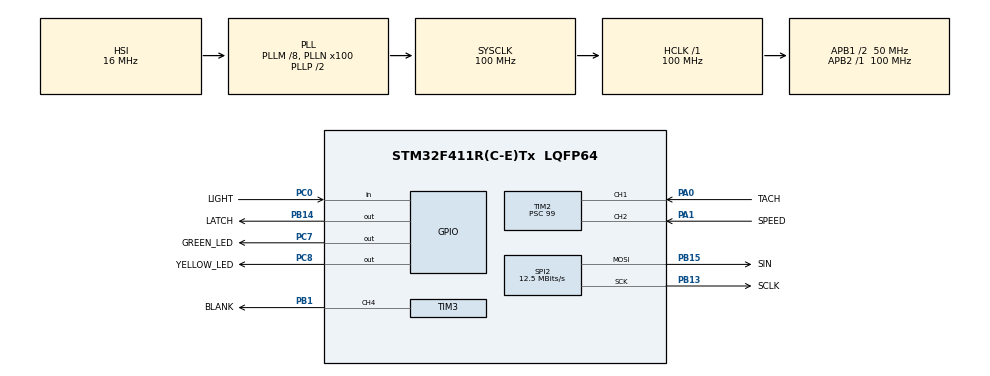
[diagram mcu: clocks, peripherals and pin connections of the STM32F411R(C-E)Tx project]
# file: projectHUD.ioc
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FREERTOS.Queues01=displayQueue,4,uint32_t,0,Dynamic,NULL,NULL
FREERTOS.Tasks01=inputTask,24,1024,StartInputTask,Default,NULL,Dynamic,NULL,NULL;displayTask,16,1024,StartDisplayTask,Default,NULL,Dynamic,NULL,NULL
FREERTOS.configUSE_NEWLIB_REENTRANT=1
Mcu.Family=STM32F4
Mcu.Name=STM32F411R(C-E)Tx
Mcu.Package=LQFP64
NVIC.PriorityGroup=NVIC_PRIORITYGROUP_4
NVIC.TIM1_TRG_COM_TIM11_IRQn=true\:15\:0\:false\:false\:true\:false\:false\:true\:true
NVIC.TIM2_IRQn=true\:5\:0\:false\:false\:true\:true\:true\:true\:true
NVIC.TimeBase=TIM1_TRG_COM_TIM11_IRQn
NVIC.TimeBaseIP=TIM11
PA0-WKUP.GPIO_Label=TACH
PA0-WKUP.Signal=S_TIM2_CH1_ETR
PA1.GPIO_Label=SPEED
PA1.Signal=S_TIM2_CH2
PA13.Mode=Trace_Asynchronous_SW
PA13.Signal=SYS_JTMS-SWDIO
PA14.Mode=Trace_Asynchronous_SW
PA14.Signal=SYS_JTCK-SWCLK
PB1.GPIO_Label=BLANK
PB1.Signal=S_TIM3_CH4
PB13.GPIO_Label=SCLK
PB13.Mode=TX_Only_Simplex_Unidirect_Master
PB13.Signal=SPI2_SCK
PB14.GPIO_Label=LATCH
PB14.Signal=GPIO_Output
PB15.GPIO_Label=SIN
PB15.Mode=TX_Only_Simplex_Unidirect_Master
PB15.Signal=SPI2_MOSI
PB3.Mode=Trace_Asynchronous_SW
PB3.Signal=SYS_JTDO-SWO
PC0.GPIO_Label=LIGHT
PC0.GPIO_PuPd=GPIO_PULLUP
PC0.Signal=GPIO_Input
PC7.GPIO_Label=GREEN_LED
PC7.PinState=GPIO_PIN_RESET
PC7.Signal=GPIO_Output
PC8.GPIO_Label=YELLOW_LED
PC8.Signal=GPIO_Output
ProjectManager.HeapSize=0x200
ProjectManager.StackSize=0x400
ProjectManager.TargetToolchain=STM32CubeIDE
RCC.48MHZClocksFreq_Value=50000000
RCC.AHBFreq_Value=100000000
RCC.APB1CLKDivider=RCC_HCLK_DIV2
RCC.APB1Freq_Value=50000000
RCC.APB1TimFreq_Value=100000000
RCC.APB2Freq_Value=100000000
RCC.APB2TimFreq_Value=100000000
RCC.CortexFreq_Value=100000000
RCC.HCLKFreq_Value=100000000
RCC.HSE_VALUE=25000000
RCC.HSI_VALUE=16000000
RCC.LSE_VALUE=32768
RCC.PLLM=8
RCC.PLLN=100
RCC.SYSCLKFreq_VALUE=100000000
RCC.SYSCLKSource=RCC_SYSCLKSOURCE_PLLCLK
RCC.VCOOutputFreq_Value=200000000
SH.S_TIM2_CH1_ETR.0=TIM2_CH1,Input_Capture1_from_TI1
SH.S_TIM2_CH2.0=TIM2_CH2,Input_Capture2_from_TI2
SH.S_TIM3_CH4.0=TIM3_CH4,PWM Generation4 CH4
SPI2.BaudRatePrescaler=SPI_BAUDRATEPRESCALER_4
SPI2.CalculateBaudRate=12.5 MBits/s
SPI2.Direction=SPI_DIRECTION_2LINES
SPI2.Mode=SPI_MODE_MASTER
SPI2.VirtualType=VM_MASTER
TIM2.Channel-Input_Capture1_from_TI1=TIM_CHANNEL_1
TIM2.Channel-Input_Capture2_from_TI2=TIM_CHANNEL_2
TIM2.ICFilter_CH1=0x0F
TIM2.ICFilter_CH2=0x0F
TIM2.Period=0xFFFFFFFF
TIM2.Prescaler=99
TIM3.Channel-PWM\ Generation4\ CH4=TIM_CHANNEL_4
TIM3.Period=99
TIM3.Prescaler=99
VP_FREERTOS_VS_CMSIS_V2.Mode=CMSIS_V2
VP_SYS_VS_tim11.Mode=TIM11
VP_TIM2_VS_ClockSourceINT.Mode=Internal
VP_TIM3_VS_ClockSourceINT.Mode=Internal
board=custom

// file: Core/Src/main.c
/* USER CODE BEGIN Header */
/**
  ******************************************************************************
  * @file           : main.c
  * @brief          : Main program body
  ******************************************************************************
  * @attention
  *
  * Copyright (c) 2026 STMicroelectronics.
  * All rights reserved.
  *
  * This software is licensed under terms that can be found in the LICENSE file
  * in the root directory of this software component.
  * If no LICENSE file comes with this software, it is provided AS-IS.
  *
  ******************************************************************************
  */
/* USER CODE END Header */
#include "main.h"
#include "cmsis_os.h"

/* USER CODE BEGIN PD */
// signal constants
#define PULSE_PER_REV 2 // tachometer pulses per crankshaft revolution
#define PULSE_PER_KILO 2482.215342 // calculated from 72158 pulses / 29.07 km
#define SEC_PER_HOUR 3600 // seconds per hour
#define SEC_PER_MIN 60 // seconds per minute
#define MICROS_PER_SEC 1000000UL // microseconds per second (1 timer tick = 1us)
#define ZERO_TIMEOUT 1000000UL // 1.0 seconds
#define ZERO_DEBOUNCE_AMOUNT (ZERO_TIMEOUT / 10) // amount of debouncing for low periods
#define UPPER_PERIOD 50000 // upper mapping point
#define LOWER_PERIOD 10000 // lower mapping point
#define K_SMOOTH 0.50f // smoothing factor. 1 = no smoothing, 0 = max smoothing

// display constants
#define TLC_CHANNELS 48 // two daisy-chained TLC5947s, 24 channels each
#define TLC_BYTES 72 // 48 channels x 12 bits / 8
#define BLANK_DIGIT 10 // index into segment table for a blank digit
#define PWM_DAY 0 // BLANK duty for 100% brightness (never blanked)
#define PWM_NIGHT 2000 // BLANK duty for 50% brightness (half of period 3999)

// frame passed from input task to display task, packed into one 32-bit queue item
// bits 0-9: speed, bits 10-16: rpm hundreds, bit 17: night flag
#define FRAME_PACK(spd, rpm, night) (((uint32_t)(night) << 17) | ((uint32_t)(rpm) << 10) | (spd))
#define FRAME_SPEED(f) ((f) & 0x3FF)
#define FRAME_RPM(f) (((f) >> 10) & 0x7F)
#define FRAME_NIGHT(f) (((f) >> 17) & 1)
/* USER CODE END PD */

SPI_HandleTypeDef hspi2;

TIM_HandleTypeDef htim2;
TIM_HandleTypeDef htim3;

/* Definitions for inputTask */
osThreadId_t inputTaskHandle;
const osThreadAttr_t inputTask_attributes = {
  .name = "inputTask",
  .stack_size = 1024 * 4,
  .priority = (osPriority_t) osPriorityNormal,
};
/* Definitions for displayTask */
osThreadId_t displayTaskHandle;
const osThreadAttr_t displayTask_attributes = {
  .name = "displayTask",
  .stack_size = 1024 * 4,
  .priority = (osPriority_t) osPriorityBelowNormal,
};
/* Definitions for displayQueue */
osMessageQueueId_t displayQueueHandle;
const osMessageQueueAttr_t displayQueue_attributes = {
  .name = "displayQueue"
};
/* USER CODE BEGIN PV */
// interrupt variables, shared between TIM2 capture ISR and input task
volatile uint32_t count = 0;
volatile uint32_t prevTime = 0, prevTime2 = 0; // last capture time to calculate period
volatile uint32_t period = ZERO_TIMEOUT, period2 = ZERO_TIMEOUT; // high starting value so it reads as 0
volatile uint32_t periodSum = 0, periodSum2 = 0; // used to calculate period average
volatile uint32_t periodAverage = ZERO_TIMEOUT, periodAverage2 = ZERO_TIMEOUT;
volatile uint32_t prevPeriodAverage = ZERO_TIMEOUT, prevPeriodAverage2 = ZERO_TIMEOUT;
volatile float periodSmooth = ZERO_TIMEOUT, periodSmooth2 = ZERO_TIMEOUT; // period after smoothing
volatile uint8_t sampleCounter = 1, sampleCounter2 = 1; // for counting sampling rate
volatile uint8_t samplingRate = 1, samplingRate2 = 1; // 1 - 10 mapped between upper and lower period

// segment lookup table, bit order gfedcba, bit 0 = segment a
static const uint8_t SEGMENT_TABLE[11] = {
  0x3F, 0x06, 0x5B, 0x4F, 0x66, 0x6D, 0x7D, 0x07, 0x7F, 0x6F, 0x00
};

// first global TLC channel of each digit, from schematic:
// U7 = ch 0-23 (LED1-LED3, speed hundreds/tens/ones), U8 = ch 24-47 (LED4-LED5, rpm)
static const uint8_t DIGIT_BASE[5] = {0, 8, 16, 24, 32};

/* USER CODE END PV */

void SystemClock_Config(void);
static void MX_GPIO_Init(void);
static void MX_SPI2_Init(void);
static void MX_TIM2_Init(void);
static void MX_TIM3_Init(void);
void StartInputTask(void *argument);
void StartDisplayTask(void *argument);

/* USER CODE BEGIN 0 */
// TIM2 input capture interrupt, measures pulse periods for tach (CH1) and speed (CH2)
void HAL_TIM_IC_CaptureCallback(TIM_HandleTypeDef *htim) {
  if (htim->Instance != TIM2) return;

  if (htim->Channel == HAL_TIM_ACTIVE_CHANNEL_1) { // tach on PA0
    uint32_t capture = HAL_TIM_ReadCapturedValue(htim, TIM_CHANNEL_1);
    period = capture - prevTime; // unsigned math handles 32-bit rollover
    prevTime = capture;

    if (sampleCounter >= samplingRate) {
      prevPeriodAverage = periodAverage;
      periodAverage = periodSum / samplingRate; // average period in this cycle
      periodSmooth = ((1 - K_SMOOTH) * prevPeriodAverage) + (periodAverage * K_SMOOTH);

      sampleCounter = 1;
      periodSum = period;

      // adaptive sampling rate, 1 to 10 samples between upper and lower period
      long rate = (long)(period - UPPER_PERIOD) * (10 - 1) / (LOWER_PERIOD - UPPER_PERIOD) + 1;
      if (rate < 1) rate = 1;
      if (rate > 10) rate = 10;
      if (period > UPPER_PERIOD) rate = 1; // slow pulses always use 1 sample
      samplingRate = rate;
    } else {
      sampleCounter++;
      periodSum += period;
    }
  }

  if (htim->Channel == HAL_TIM_ACTIVE_CHANNEL_2) { // speed on PA1
    uint32_t capture = HAL_TIM_ReadCapturedValue(htim, TIM_CHANNEL_2);
    count++;
    period2 = capture - prevTime2;
    prevTime2 = capture;

    if (sampleCounter2 >= samplingRate2) {
      prevPeriodAverage2 = periodAverage2;
      periodAverage2 = periodSum2 / samplingRate2;
      periodSmooth2 = ((1 - K_SMOOTH) * prevPeriodAverage2) + (periodAverage2 * K_SMOOTH);

      sampleCounter2 = 1;
      periodSum2 = period2;

      long rate2 = (long)(period2 - UPPER_PERIOD) * (10 - 1) / (LOWER_PERIOD - UPPER_PERIOD) + 1;
      if (rate2 < 1) rate2 = 1;
      if (rate2 > 10) rate2 = 10;
      if (period2 > UPPER_PERIOD) rate2 = 1;
      samplingRate2 = rate2;
    } else {
      sampleCounter2++;
      periodSum2 += period2;
    }
  }
}
/* USER CODE END 0 */

int main(void)
{

  /* MCU Configuration--------------------------------------------------------*/

  /* Reset of all peripherals, Initializes the Flash interface and the Systick. */
  HAL_Init();

  /* Configure the system clock */
  SystemClock_Config();

  /* Initialize all configured peripherals */
  MX_GPIO_Init();
  MX_SPI2_Init();
  MX_TIM2_Init();
  MX_TIM3_Init();
  /* USER CODE BEGIN 2 */
  HAL_TIM_IC_Start_IT(&htim2, TIM_CHANNEL_1); // start tach capture
  HAL_TIM_IC_Start_IT(&htim2, TIM_CHANNEL_2); // start speed capture

  // display outputs stay blanked (BLANK pulled high by PWM idle state) until first frame is latched;
  // displayTask sends the first buffer before brightness matters
  __HAL_TIM_SET_COMPARE(&htim3, TIM_CHANNEL_4, PWM_DAY);
  HAL_TIM_PWM_Start(&htim3, TIM_CHANNEL_4);
  /* USER CODE END 2 */

  /* Init scheduler */
  osKernelInitialize();

  /* Create the queue(s) */
  /* creation of displayQueue */
  displayQueueHandle = osMessageQueueNew (4, sizeof(uint32_t), &displayQueue_attributes);

  /* Create the thread(s) */
  /* creation of inputTask */
  inputTaskHandle = osThreadNew(StartInputTask, NULL, &inputTask_attributes);

  /* creation of displayTask */
  displayTaskHandle = osThreadNew(StartDisplayTask, NULL, &displayTask_attributes);

  /* Start scheduler */
  osKernelStart();

  /* We should never get here as control is now taken by the scheduler */

  /* Infinite loop */
  while (1)
  {

  }
}

void SystemClock_Config(void)
{
  RCC_OscInitTypeDef RCC_OscInitStruct = {0};
  RCC_ClkInitTypeDef RCC_ClkInitStruct = {0};

  /** Configure the main internal regulator output voltage
  */
  __HAL_RCC_PWR_CLK_ENABLE();
  __HAL_PWR_VOLTAGESCALING_CONFIG(PWR_REGULATOR_VOLTAGE_SCALE1);

  /** Initializes the RCC Oscillators according to the specified parameters
  * in the RCC_OscInitTypeDef structure.
  */
  RCC_OscInitStruct.OscillatorType = RCC_OSCILLATORTYPE_HSI;
  RCC_OscInitStruct.HSIState = RCC_HSI_ON;
  RCC_OscInitStruct.HSICalibrationValue = RCC_HSICALIBRATION_DEFAULT;
  RCC_OscInitStruct.PLL.PLLState = RCC_PLL_ON;
  RCC_OscInitStruct.PLL.PLLSource = RCC_PLLSOURCE_HSI;
  RCC_OscInitStruct.PLL.PLLM = 8;
  RCC_OscInitStruct.PLL.PLLN = 100;
  RCC_OscInitStruct.PLL.PLLP = RCC_PLLP_DIV2;
  RCC_OscInitStruct.PLL.PLLQ = 4;
  if (HAL_RCC_OscConfig(&RCC_OscInitStruct) != HAL_OK)
  {
    Error_Handler();
  }

  /** Initializes the CPU, AHB and APB buses clocks
  */
  RCC_ClkInitStruct.ClockType = RCC_CLOCKTYPE_HCLK|RCC_CLOCKTYPE_SYSCLK
                              |RCC_CLOCKTYPE_PCLK1|RCC_CLOCKTYPE_PCLK2;
  RCC_ClkInitStruct.SYSCLKSource = RCC_SYSCLKSOURCE_PLLCLK;
  RCC_ClkInitStruct.AHBCLKDivider = RCC_SYSCLK_DIV1;
  RCC_ClkInitStruct.APB1CLKDivider = RCC_HCLK_DIV2;
  RCC_ClkInitStruct.APB2CLKDivider = RCC_HCLK_DIV1;

  if (HAL_RCC_ClockConfig(&RCC_ClkInitStruct, FLASH_LATENCY_3) != HAL_OK)
  {
    Error_Handler();
  }
}

static void MX_SPI2_Init(void)
{

  /* SPI2 parameter configuration*/
  hspi2.Instance = SPI2;
  hspi2.Init.Mode = SPI_MODE_MASTER;
  hspi2.Init.Direction = SPI_DIRECTION_2LINES;
  hspi2.Init.DataSize = SPI_DATASIZE_8BIT;
  hspi2.Init.CLKPolarity = SPI_POLARITY_LOW;
  hspi2.Init.CLKPhase = SPI_PHASE_1EDGE;
  hspi2.Init.NSS = SPI_NSS_SOFT;
  hspi2.Init.BaudRatePrescaler = SPI_BAUDRATEPRESCALER_4;
  hspi2.Init.FirstBit = SPI_FIRSTBIT_MSB;
  hspi2.Init.TIMode = SPI_TIMODE_DISABLE;
  hspi2.Init.CRCCalculation = SPI_CRCCALCULATION_DISABLE;
  hspi2.Init.CRCPolynomial = 10;
  if (HAL_SPI_Init(&hspi2) != HAL_OK)
  {
    Error_Handler();
  }

}

static void MX_TIM2_Init(void)
{

  TIM_ClockConfigTypeDef sClockSourceConfig = {0};
  TIM_MasterConfigTypeDef sMasterConfig = {0};
  TIM_IC_InitTypeDef sConfigIC = {0};

  htim2.Instance = TIM2;
  htim2.Init.Prescaler = 99;
  htim2.Init.CounterMode = TIM_COUNTERMODE_UP;
  htim2.Init.Period = 0xFFFFFFFF;
  htim2.Init.ClockDivision = TIM_CLOCKDIVISION_DIV1;
  htim2.Init.AutoReloadPreload = TIM_AUTORELOAD_PRELOAD_DISABLE;
  if (HAL_TIM_Base_Init(&htim2) != HAL_OK)
  {
    Error_Handler();
  }
  sClockSourceConfig.ClockSource = TIM_CLOCKSOURCE_INTERNAL;
  if (HAL_TIM_ConfigClockSource(&htim2, &sClockSourceConfig) != HAL_OK)
  {
    Error_Handler();
  }
  if (HAL_TIM_IC_Init(&htim2) != HAL_OK)
  {
    Error_Handler();
  }
  sMasterConfig.MasterOutputTrigger = TIM_TRGO_RESET;
  sMasterConfig.MasterSlaveMode = TIM_MASTERSLAVEMODE_DISABLE;
  if (HAL_TIMEx_MasterConfigSynchronization(&htim2, &sMasterConfig) != HAL_OK)
  {
    Error_Handler();
  }
  sConfigIC.ICPolarity = TIM_INPUTCHANNELPOLARITY_RISING;
  sConfigIC.ICSelection = TIM_ICSELECTION_DIRECTTI;
  sConfigIC.ICPrescaler = TIM_ICPSC_DIV1;
  sConfigIC.ICFilter = 0x0F;
  if (HAL_TIM_IC_ConfigChannel(&htim2, &sConfigIC, TIM_CHANNEL_1) != HAL_OK)
  {
    Error_Handler();
  }
  if (HAL_TIM_IC_ConfigChannel(&htim2, &sConfigIC, TIM_CHANNEL_2) != HAL_OK)
  {
    Error_Handler();
  }

}

static void MX_TIM3_Init(void)
{

  TIM_ClockConfigTypeDef sClockSourceConfig = {0};
  TIM_MasterConfigTypeDef sMasterConfig = {0};
  TIM_OC_InitTypeDef sConfigOC = {0};

  htim3.Instance = TIM3;
  htim3.Init.Prescaler = 99;
  htim3.Init.CounterMode = TIM_COUNTERMODE_UP;
  htim3.Init.Period = 99;
  htim3.Init.ClockDivision = TIM_CLOCKDIVISION_DIV1;
  htim3.Init.AutoReloadPreload = TIM_AUTORELOAD_PRELOAD_DISABLE;
  if (HAL_TIM_Base_Init(&htim3) != HAL_OK)
  {
    Error_Handler();
  }
  sClockSourceConfig.ClockSource = TIM_CLOCKSOURCE_INTERNAL;
  if (HAL_TIM_ConfigClockSource(&htim3, &sClockSourceConfig) != HAL_OK)
  {
    Error_Handler();
  }
  if (HAL_TIM_PWM_Init(&htim3) != HAL_OK)
  {
    Error_Handler();
  }
  sMasterConfig.MasterOutputTrigger = TIM_TRGO_RESET;
  sMasterConfig.MasterSlaveMode = TIM_MASTERSLAVEMODE_DISABLE;
  if (HAL_TIMEx_MasterConfigSynchronization(&htim3, &sMasterConfig) != HAL_OK)
  {
    Error_Handler();
  }
  sConfigOC.OCMode = TIM_OCMODE_PWM1;
  sConfigOC.Pulse = 0;
  sConfigOC.OCPolarity = TIM_OCPOLARITY_HIGH;
  sConfigOC.OCFastMode = TIM_OCFAST_DISABLE;
  if (HAL_TIM_PWM_ConfigChannel(&htim3, &sConfigOC, TIM_CHANNEL_4) != HAL_OK)
  {
    Error_Handler();
  }
  HAL_TIM_MspPostInit(&htim3);

}

static void MX_GPIO_Init(void)
{
  GPIO_InitTypeDef GPIO_InitStruct = {0};

  /* GPIO Ports Clock Enable */
  __HAL_RCC_GPIOC_CLK_ENABLE();
  __HAL_RCC_GPIOA_CLK_ENABLE();
  __HAL_RCC_GPIOB_CLK_ENABLE();

  /*Configure GPIO pin Output Level */
  HAL_GPIO_WritePin(LATCH_GPIO_Port, LATCH_Pin, GPIO_PIN_RESET);

  /*Configure GPIO pin Output Level */
  HAL_GPIO_WritePin(GPIOC, GREEN_LED_Pin|YELLOW_LED_Pin, GPIO_PIN_RESET);

  /*Configure GPIO pin : LIGHT_Pin */
  GPIO_InitStruct.Pin = LIGHT_Pin;
  GPIO_InitStruct.Mode = GPIO_MODE_INPUT;
  GPIO_InitStruct.Pull = GPIO_PULLUP;
  HAL_GPIO_Init(LIGHT_GPIO_Port, &GPIO_InitStruct);

  /*Configure GPIO pin : LATCH_Pin */
  GPIO_InitStruct.Pin = LATCH_Pin;
  GPIO_InitStruct.Mode = GPIO_MODE_OUTPUT_PP;
  GPIO_InitStruct.Pull = GPIO_NOPULL;
  GPIO_InitStruct.Speed = GPIO_SPEED_FREQ_LOW;
  HAL_GPIO_Init(LATCH_GPIO_Port, &GPIO_InitStruct);

  /*Configure GPIO pins : GREEN_LED_Pin YELLOW_LED_Pin */
  GPIO_InitStruct.Pin = GREEN_LED_Pin|YELLOW_LED_Pin;
  GPIO_InitStruct.Mode = GPIO_MODE_OUTPUT_PP;
  GPIO_InitStruct.Pull = GPIO_NOPULL;
  GPIO_InitStruct.Speed = GPIO_SPEED_FREQ_LOW;
  HAL_GPIO_Init(GPIOC, &GPIO_InitStruct);

}

void StartInputTask(void *argument)
{
  for(;;)
  {
    osDelay(1);
  }
}

void StartDisplayTask(void *argument)
{
  /* USER CODE BEGIN StartDisplayTask */
  uint32_t frame;
  unsigned int speed, rpm;
  uint8_t segState[TLC_CHANNELS]; // on/off state of every TLC output
  uint8_t digits[5];
  uint8_t tlcBuffer[TLC_BYTES];

  for (;;) {
	// block until a new frame arrives, zero CPU used while waiting
	if (osMessageQueueGet(displayQueueHandle, &frame, NULL, osWaitForever) != osOK) {
	  continue;
	}

	speed = FRAME_SPEED(frame);
	rpm = FRAME_RPM(frame);

	// brightness in two levels via BLANK duty cycle at 25kHz, no visible flicker
	__HAL_TIM_SET_COMPARE(&htim3, TIM_CHANNEL_4, FRAME_NIGHT(frame) ? PWM_NIGHT : PWM_DAY);

	// pick the number for each digit, with leading zero blanking
	digits[0] = (speed >= 100) ? speed / 100 : BLANK_DIGIT;
	digits[1] = (speed >= 10) ? (speed / 10) % 10 : BLANK_DIGIT;
	digits[2] = speed % 10;
	digits[3] = (rpm >= 10) ? rpm / 10 : BLANK_DIGIT;
	digits[4] = rpm % 10;

	// look up segments and mark each TLC channel on or off
	for (int ch = 0; ch < TLC_CHANNELS; ch++) segState[ch] = 0; // clears unused + DP channels
	for (int d = 0; d < 5; d++) {
	  uint8_t segments = SEGMENT_TABLE[digits[d]];
	  for (int s = 0; s < 7; s++) {
		segState[DIGIT_BASE[d] + s] = (segments >> s) & 1;
	  }
	}

	// pack into the shift buffer: 12 bits per channel, channel 47 shifted out first
	// so it travels through U7 into U8, each channel pair -> 3 bytes
	for (int i = 0; i < TLC_CHANNELS; i += 2) {
	  uint8_t hi = segState[TLC_CHANNELS - 1 - i]; // first channel of the pair
	  uint8_t lo = segState[TLC_CHANNELS - 2 - i]; // second channel of the pair
	  tlcBuffer[(i / 2) * 3] = hi ? 0xFF : 0x00;
	  tlcBuffer[(i / 2) * 3 + 1] = (hi ? 0xF0 : 0x00) | (lo ? 0x0F : 0x00);
	  tlcBuffer[(i / 2) * 3 + 2] = lo ? 0xFF : 0x00;
	}

	// shift out and latch
	HAL_SPI_Transmit(&hspi2, tlcBuffer, TLC_BYTES, HAL_MAX_DELAY);
	HAL_GPIO_WritePin(LATCH_GPIO_Port, LATCH_Pin, GPIO_PIN_SET);
	HAL_GPIO_WritePin(LATCH_GPIO_Port, LATCH_Pin, GPIO_PIN_RESET);
  }
  /* USER CODE END StartDisplayTask */
}

void HAL_TIM_PeriodElapsedCallback(TIM_HandleTypeDef *htim)
{
  if (htim->Instance == TIM11)
  {
    HAL_IncTick();
  }
}

void Error_Handler(void)
{
  __disable_irq();
  while (1)
  {
  }
}
